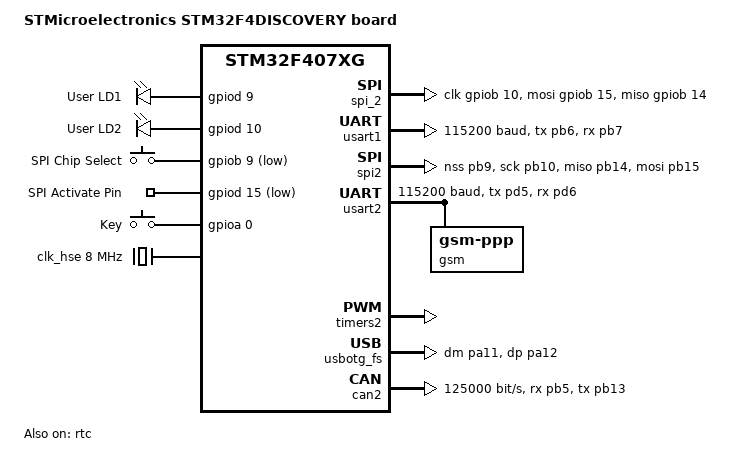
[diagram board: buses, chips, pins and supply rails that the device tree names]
/*
 * Copyright (c) 2017 Linaro Limited
 *
 * SPDX-License-Identifier: Apache-2.0
 */

/dts-v1/;
#include <st/f4/stm32f407Xg.dtsi>
#include <st/f4/stm32f407v(e-g)tx-pinctrl.dtsi>

/ {	
	model = "STMicroelectronics STM32F4DISCOVERY board";
	compatible = "st,stm32f4discovery";

	chosen {
		zephyr,console = &usart1;
		zephyr,shell-uart = &usart1;
		zephyr,sram = &sram0;
		zephyr,flash = &flash0;
		zephyr,ccm = &ccm0;
		zephyr,canbus = &can2;
	};

	leds {
		compatible = "gpio-leds";
		green_led_1: led_1 {
			gpios = <&gpiod 9 GPIO_ACTIVE_HIGH>;
			label = "User LD1";
		};
		red_led_2: led_2 {
			gpios = <&gpiod 10 GPIO_ACTIVE_HIGH>;
			label = "User LD2";
		};
	};
	
	spi_chip_select {
		compatible = "gpio-keys";
		spi_cs: cs {
			/*PB9 as CS pin*/
			gpios = <&gpiob 9 GPIO_ACTIVE_LOW>;
			label = "SPI Chip Select";
		};
	};
	
	spi_activate_pin {
		compatible = "gpio-keys";
		spi_act_pin: act_pin {
			/*PD15 as spi activate pin which is active high and by default is deactivated */
			gpios = <&gpiod 15 GPIO_ACTIVE_LOW>;
			label = "SPI Activate Pin";
		};
	};
	
	spi_2: spi_2 {
		label = "SPI 2";
		compatible = "zephyr,spi-bitbang";
		status="okay";
		#address-cells = <1>;
		#size-cells = <0>;
		clk-gpios = <&gpiob 10 GPIO_ACTIVE_HIGH>;
		mosi-gpios = <&gpiob 15 GPIO_ACTIVE_HIGH>;
		miso-gpios = <&gpiob 14 0>;
		cs-gpios = <&gpiob 9 GPIO_ACTIVE_LOW>;
	};	

	gpio_keys {
		compatible = "gpio-keys";
		user_button: button {
			label = "Key";
			gpios = <&gpioa 0 GPIO_ACTIVE_HIGH>;
		};		
	};

	aliases {
		led0 = &green_led_1;
		led1 = &red_led_2;
		sw0 = &user_button;
		uart2 = &usart2;
		cs = &spi_cs;
		spiactpin = &spi_act_pin;
		spi = &spi2;
	};
	
};

&usart1 {
	pinctrl-0 = <&usart1_tx_pb6 &usart1_rx_pb7>;
	pinctrl-names = "default";
	current-speed = <115200>;
	status = "okay";	
};

&spi2 {
	compatible = "st,stm32-spi";
	pinctrl-names = "default";
	pinctrl-0 = <&spi2_nss_pb9 &spi2_sck_pb10 &spi2_miso_pb14 &spi2_mosi_pb15 >;
	cs-gpios = <&gpiob 9 GPIO_ACTIVE_LOW>;
	status = "okay";
};

&clk_hse {
	clock-frequency = <DT_FREQ_M(8)>;
	status = "okay";
};

&pll {
	div-m = <8>;
	mul-n = <336>;
	div-p = <2>;
	div-q = <7>;
	clocks = <&clk_hse>;
	status = "okay";
};

&rcc {
	clocks = <&pll>;
	clock-frequency = <DT_FREQ_M(168)>;
	ahb-prescaler = <1>;
	apb1-prescaler = <4>;
	apb2-prescaler = <2>;
};

&usart2 {
	pinctrl-0 = <&usart2_tx_pd5 &usart2_rx_pd6>;
	pinctrl-names = "default";
	current-speed = <115200>;
	status = "okay";
	gsm: gsm-modem {
		compatible = "zephyr,gsm-ppp";
	};
};

&timers2 {
	status = "okay";

	pwm2: pwm {
		status = "okay";
		pinctrl-0 = <&tim2_ch1_pa0>;
		pinctrl-names = "default";
	};
};

&rtc {
	status = "okay";
};

zephyr_udc0: &usbotg_fs {
	pinctrl-0 = <&usb_otg_fs_dm_pa11 &usb_otg_fs_dp_pa12>;
	pinctrl-names = "default";
	status = "okay";
};

&can1 {
	pinctrl-0 = <&can1_rx_pb8 &can1_tx_pb9>;
	pinctrl-names = "default";
	bus-speed = <125000>;
	status = "disabled";
};

&can2 {
	pinctrl-0 = <&can2_rx_pb5 &can2_tx_pb13>;
	pinctrl-names = "default";
	bus-speed = <125000>;
	status = "okay";
};
